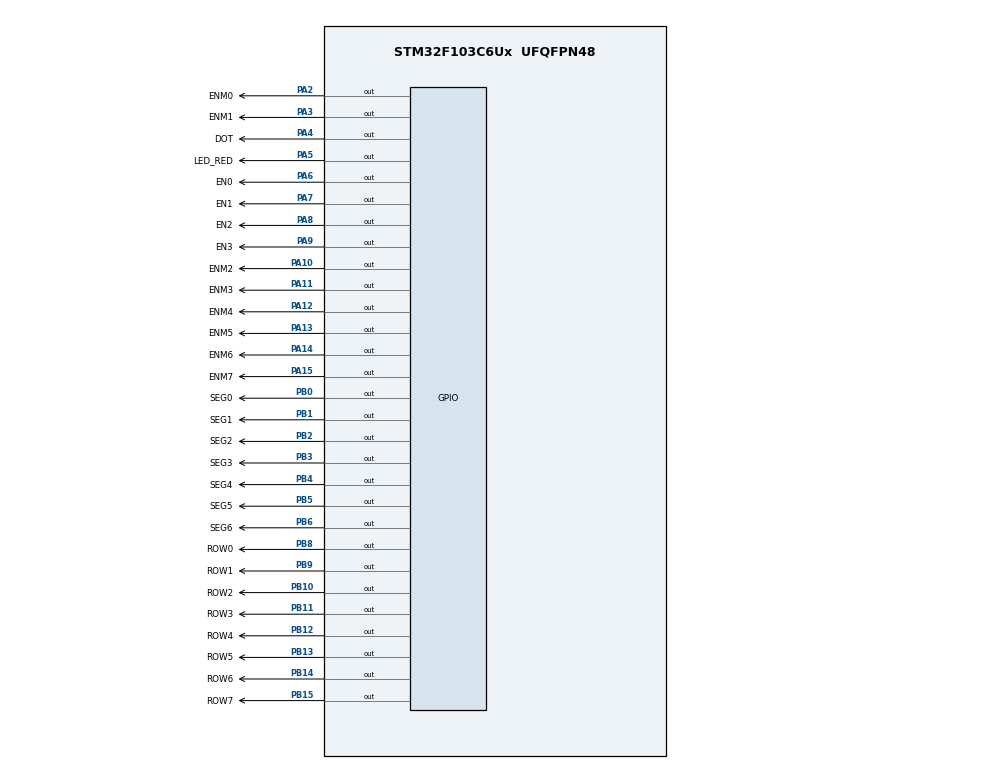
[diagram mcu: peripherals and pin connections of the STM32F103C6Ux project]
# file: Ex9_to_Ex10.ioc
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Mcu.Family=STM32F1
Mcu.Name=STM32F103C6Ux
Mcu.Package=UFQFPN48
NVIC.PriorityGroup=NVIC_PRIORITYGROUP_4
NVIC.TIM2_IRQn=true\:0\:0\:false\:false\:true\:true\:true
PA10.GPIO_Label=ENM2
PA10.Signal=GPIO_Output
PA11.GPIO_Label=ENM3
PA11.Signal=GPIO_Output
PA12.GPIO_Label=ENM4
PA12.Signal=GPIO_Output
PA13.GPIO_Label=ENM5
PA13.Signal=GPIO_Output
PA14.GPIO_Label=ENM6
PA14.Signal=GPIO_Output
PA15.GPIO_Label=ENM7
PA15.Signal=GPIO_Output
PA2.GPIO_Label=ENM0
PA2.Signal=GPIO_Output
PA3.GPIO_Label=ENM1
PA3.Signal=GPIO_Output
PA4.GPIO_Label=DOT
PA4.Signal=GPIO_Output
PA5.GPIO_Label=LED_RED
PA5.Signal=GPIO_Output
PA6.GPIO_Label=EN0
PA6.Signal=GPIO_Output
PA7.GPIO_Label=EN1
PA7.Signal=GPIO_Output
PA8.GPIO_Label=EN2
PA8.Signal=GPIO_Output
PA9.GPIO_Label=EN3
PA9.Signal=GPIO_Output
PB0.GPIO_Label=SEG0
PB0.Signal=GPIO_Output
PB1.GPIO_Label=SEG1
PB1.Signal=GPIO_Output
PB10.GPIO_Label=ROW2
PB10.Signal=GPIO_Output
PB11.GPIO_Label=ROW3
PB11.Signal=GPIO_Output
PB12.GPIO_Label=ROW4
PB12.Signal=GPIO_Output
PB13.GPIO_Label=ROW5
PB13.Signal=GPIO_Output
PB14.GPIO_Label=ROW6
PB14.Signal=GPIO_Output
PB15.GPIO_Label=ROW7
PB15.Signal=GPIO_Output
PB2.GPIO_Label=SEG2
PB2.Signal=GPIO_Output
PB3.GPIO_Label=SEG3
PB3.Signal=GPIO_Output
PB4.GPIO_Label=SEG4
PB4.Signal=GPIO_Output
PB5.GPIO_Label=SEG5
PB5.Signal=GPIO_Output
PB6.GPIO_Label=SEG6
PB6.Signal=GPIO_Output
PB8.GPIO_Label=ROW0
PB8.Signal=GPIO_Output
PB9.GPIO_Label=ROW1
PB9.Signal=GPIO_Output
ProjectManager.HeapSize=0x200
ProjectManager.StackSize=0x400
ProjectManager.TargetToolchain=STM32CubeIDE
RCC.APB1Freq_Value=8000000
RCC.APB2Freq_Value=8000000
TIM2.Period=9
TIM2.Prescaler=7999
VP_SYS_VS_ND.Mode=No_Debug
VP_TIM2_VS_ClockSourceINT.Mode=Internal
board=custom

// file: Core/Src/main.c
/* USER CODE BEGIN Header */
/**
  ******************************************************************************
  * @file           : main.c
  * @brief          : Main program body
  ******************************************************************************
  * @attention
  *
  * <h2><center>&copy; Copyright (c) 2025 STMicroelectronics.
  * All rights reserved.</center></h2>
  *
  * This software component is licensed by ST under BSD 3-Clause license,
  * the "License"; You may not use this file except in compliance with the
  * License. You may obtain a copy of the License at:
  *                        opensource.org/licenses/BSD-3-Clause
  *
  ******************************************************************************
  */
/* USER CODE END Header */
#include "main.h"

/* USER CODE BEGIN Includes */
#include "softWareTimer.h"
/* USER CODE END Includes */

TIM_HandleTypeDef htim2;

/* USER CODE BEGIN PV */
TIM_HandleTypeDef htim2;
const uint8_t seg_table[10] = {
    0b1000000, // 0
    0b1111001, // 1
    0b0100100, // 2
    0b0110000, // 3
    0b0011001, // 4
    0b0010010, // 5
    0b0000010, // 6
    0b1111000, // 7
    0b0000000, // 8
    0b0010000  // 9
};
//LED7SEG
int 		index_led 		= 0;
int 		led_buffer[MAX_LED]   = {1, 2, 3, 4};
int hour = 15, minute = 59, second = 50;

//LED MATRIX
int 		index_led_matrix	= 0;
uint8_t 	matrix_buffer[MAX_LED_MATRIX] 	= {
		// quet theo hang doc
			0x00, //    XX
			0x3F, //   X  X
			0x48, //  X    X
			0x88, //  X    X
			0x88, //  XXXXXX
			0x48, //  X    X
			0x3F, //  X    X
			0x00  //  X    X
};

uint8_t matrix_random[MAX_LED_MATRIX] = {
    0b00111100,
    0b01000010,
    0b10000001,
    0b10000001,
    0b11111111,
    0b10000001,
    0b10000001,
    0b10000001
};
/* USER CODE END PV */

void SystemClock_Config(void);
static void MX_GPIO_Init(void);
static void MX_TIM2_Init(void);

int main(void)
{

  /* MCU Configuration--------------------------------------------------------*/

  /* Reset of all peripherals, Initializes the Flash interface and the Systick. */
  HAL_Init();

  /* Configure the system clock */
  SystemClock_Config();

  /* Initialize all configured peripherals */
  MX_GPIO_Init();
  MX_TIM2_Init();
  /* USER CODE BEGIN 2 */
  HAL_TIM_Base_Start_IT(&htim2);
  /* USER CODE END 2 */

  /* Infinite loop */
  /* USER CODE BEGIN WHILE */
  setTimer(0, 3);
  setTimer(1, 5);
  setTimer(2, 7);
  setTimer(3, 13);
  setTimer(4, 17);
  setTimer(5, 19);
  while (1)
  {
	  if (isTimerExpire(2)) {
		  ++second;
		  if (second >= 60) {
			  second = 0;
			  minute++;
		  }
		  if (minute >= 60) {
			  minute = 0;
			  hour++;
		  }
		  if (hour >= 24) {
			  hour = 0;
		  }
		  updateClockBuffer(); //setup clock
		  setTimer(2, 100);
	  }
      // display number clock
      if (isTimerExpire(0)) {
    	  HAL_GPIO_TogglePin(LED_RED_GPIO_Port, LED_RED_Pin);
    	  update7SEG(index_led++);
    	  if (index_led >= MAX_LED) index_led = 0;
          setTimer(0, 25); // reset timer 0.5s
      }
      // display two led
      if (isTimerExpire(1)) {
    	  HAL_GPIO_TogglePin(DOT_GPIO_Port, DOT_Pin);
    	  setTimer(1, 100);
      }

      // display letter 'A' on led matrix 8x8

      if (isTimerExpire(3)) {
    	  updateLEDMatrix(index_led_matrix++);
		  if (index_led_matrix >= MAX_LED_MATRIX) index_led_matrix = 0;
		  setTimer(3, 1); // reset timer 10ms
      }
      if (isTimerExpire(4)) {
          shiftDown();
          setTimer(4, 30);  // dịch mỗi 200ms
      }
    /* USER CODE END WHILE */

  }
}

void SystemClock_Config(void)
{
  RCC_OscInitTypeDef RCC_OscInitStruct = {0};
  RCC_ClkInitTypeDef RCC_ClkInitStruct = {0};

  /** Initializes the RCC Oscillators according to the specified parameters
  * in the RCC_OscInitTypeDef structure.
  */
  RCC_OscInitStruct.OscillatorType = RCC_OSCILLATORTYPE_HSI;
  RCC_OscInitStruct.HSIState = RCC_HSI_ON;
  RCC_OscInitStruct.HSICalibrationValue = RCC_HSICALIBRATION_DEFAULT;
  RCC_OscInitStruct.PLL.PLLState = RCC_PLL_NONE;
  if (HAL_RCC_OscConfig(&RCC_OscInitStruct) != HAL_OK)
  {
    Error_Handler();
  }
  /** Initializes the CPU, AHB and APB buses clocks
  */
  RCC_ClkInitStruct.ClockType = RCC_CLOCKTYPE_HCLK|RCC_CLOCKTYPE_SYSCLK
                              |RCC_CLOCKTYPE_PCLK1|RCC_CLOCKTYPE_PCLK2;
  RCC_ClkInitStruct.SYSCLKSource = RCC_SYSCLKSOURCE_HSI;
  RCC_ClkInitStruct.AHBCLKDivider = RCC_SYSCLK_DIV1;
  RCC_ClkInitStruct.APB1CLKDivider = RCC_HCLK_DIV1;
  RCC_ClkInitStruct.APB2CLKDivider = RCC_HCLK_DIV1;

  if (HAL_RCC_ClockConfig(&RCC_ClkInitStruct, FLASH_LATENCY_0) != HAL_OK)
  {
    Error_Handler();
  }
}

static void MX_TIM2_Init(void)
{

  TIM_ClockConfigTypeDef sClockSourceConfig = {0};
  TIM_MasterConfigTypeDef sMasterConfig = {0};

  htim2.Instance = TIM2;
  htim2.Init.Prescaler = 7999;
  htim2.Init.CounterMode = TIM_COUNTERMODE_UP;
  htim2.Init.Period = 9;
  htim2.Init.ClockDivision = TIM_CLOCKDIVISION_DIV1;
  htim2.Init.AutoReloadPreload = TIM_AUTORELOAD_PRELOAD_DISABLE;
  if (HAL_TIM_Base_Init(&htim2) != HAL_OK)
  {
    Error_Handler();
  }
  sClockSourceConfig.ClockSource = TIM_CLOCKSOURCE_INTERNAL;
  if (HAL_TIM_ConfigClockSource(&htim2, &sClockSourceConfig) != HAL_OK)
  {
    Error_Handler();
  }
  sMasterConfig.MasterOutputTrigger = TIM_TRGO_RESET;
  sMasterConfig.MasterSlaveMode = TIM_MASTERSLAVEMODE_DISABLE;
  if (HAL_TIMEx_MasterConfigSynchronization(&htim2, &sMasterConfig) != HAL_OK)
  {
    Error_Handler();
  }

}

static void MX_GPIO_Init(void)
{
  GPIO_InitTypeDef GPIO_InitStruct = {0};

  /* GPIO Ports Clock Enable */
  __HAL_RCC_GPIOA_CLK_ENABLE();
  __HAL_RCC_GPIOB_CLK_ENABLE();

  /*Configure GPIO pin Output Level */
  HAL_GPIO_WritePin(GPIOA, ENM0_Pin|ENM1_Pin|DOT_Pin|LED_RED_Pin
                          |EN0_Pin|EN1_Pin|EN2_Pin|EN3_Pin
                          |ENM2_Pin|ENM3_Pin|ENM4_Pin|ENM5_Pin
                          |ENM6_Pin|ENM7_Pin, GPIO_PIN_RESET);

  /*Configure GPIO pin Output Level */
  HAL_GPIO_WritePin(GPIOB, SEG0_Pin|SEG1_Pin|SEG2_Pin|ROW2_Pin
                          |ROW3_Pin|ROW4_Pin|ROW5_Pin|ROW6_Pin
                          |ROW7_Pin|SEG3_Pin|SEG4_Pin|SEG5_Pin
                          |SEG6_Pin|ROW0_Pin|ROW1_Pin, GPIO_PIN_RESET);

  /*Configure GPIO pins : ENM0_Pin ENM1_Pin DOT_Pin LED_RED_Pin
                           EN0_Pin EN1_Pin EN2_Pin EN3_Pin
                           ENM2_Pin ENM3_Pin ENM4_Pin ENM5_Pin
                           ENM6_Pin ENM7_Pin */
  GPIO_InitStruct.Pin = ENM0_Pin|ENM1_Pin|DOT_Pin|LED_RED_Pin
                          |EN0_Pin|EN1_Pin|EN2_Pin|EN3_Pin
                          |ENM2_Pin|ENM3_Pin|ENM4_Pin|ENM5_Pin
                          |ENM6_Pin|ENM7_Pin;
  GPIO_InitStruct.Mode = GPIO_MODE_OUTPUT_PP;
  GPIO_InitStruct.Pull = GPIO_NOPULL;
  GPIO_InitStruct.Speed = GPIO_SPEED_FREQ_LOW;
  HAL_GPIO_Init(GPIOA, &GPIO_InitStruct);

  /*Configure GPIO pins : SEG0_Pin SEG1_Pin SEG2_Pin ROW2_Pin
                           ROW3_Pin ROW4_Pin ROW5_Pin ROW6_Pin
                           ROW7_Pin SEG3_Pin SEG4_Pin SEG5_Pin
                           SEG6_Pin ROW0_Pin ROW1_Pin */
  GPIO_InitStruct.Pin = SEG0_Pin|SEG1_Pin|SEG2_Pin|ROW2_Pin
                          |ROW3_Pin|ROW4_Pin|ROW5_Pin|ROW6_Pin
                          |ROW7_Pin|SEG3_Pin|SEG4_Pin|SEG5_Pin
                          |SEG6_Pin|ROW0_Pin|ROW1_Pin;
  GPIO_InitStruct.Mode = GPIO_MODE_OUTPUT_PP;
  GPIO_InitStruct.Pull = GPIO_NOPULL;
  GPIO_InitStruct.Speed = GPIO_SPEED_FREQ_LOW;
  HAL_GPIO_Init(GPIOB, &GPIO_InitStruct);

}

/* USER CODE BEGIN 4 */
void HAL_TIM_PeriodElapsedCallback(TIM_HandleTypeDef* htim)
{
	timerRun();
}
void display7SEG(int num) {
    if (num < 0 || num > 9) return;
    uint8_t pattern = seg_table[num];
    HAL_GPIO_WritePin(SEG0_GPIO_Port, SEG0_Pin, pattern & 0x01);
    HAL_GPIO_WritePin(SEG1_GPIO_Port, SEG1_Pin, (pattern >> 1) & 0x01);
    HAL_GPIO_WritePin(SEG2_GPIO_Port, SEG2_Pin, (pattern >> 2) & 0x01);
    HAL_GPIO_WritePin(SEG3_GPIO_Port, SEG3_Pin, (pattern >> 3) & 0x01);
    HAL_GPIO_WritePin(SEG4_GPIO_Port, SEG4_Pin, (pattern >> 4) & 0x01);
    HAL_GPIO_WritePin(SEG5_GPIO_Port, SEG5_Pin, (pattern >> 5) & 0x01);
    HAL_GPIO_WritePin(SEG6_GPIO_Port, SEG6_Pin, (pattern >> 6) & 0x01);
}
void update7SEG(int index) {
	switch (index) {
		case 0:
			display7SEG(led_buffer[0]);
			HAL_GPIO_WritePin(EN0_GPIO_Port, EN0_Pin, GPIO_PIN_RESET); // turn on LED1
			HAL_GPIO_WritePin(EN1_GPIO_Port, EN1_Pin, GPIO_PIN_SET);   // turn off LED2
			HAL_GPIO_WritePin(EN2_GPIO_Port, EN2_Pin, GPIO_PIN_SET);   // turn off LED2
			HAL_GPIO_WritePin(EN3_GPIO_Port, EN3_Pin, GPIO_PIN_SET);   // turn off LED3
			break;
		case 1:
			display7SEG(led_buffer[1]);
			HAL_GPIO_WritePin(EN0_GPIO_Port, EN0_Pin, GPIO_PIN_SET);   // turn off LED1
			HAL_GPIO_WritePin(EN1_GPIO_Port, EN1_Pin, GPIO_PIN_RESET); // turn on LED2
			HAL_GPIO_WritePin(EN2_GPIO_Port, EN2_Pin, GPIO_PIN_SET);   // turn off LED3
			HAL_GPIO_WritePin(EN3_GPIO_Port, EN3_Pin, GPIO_PIN_SET);   // turn off LED4
			break;
		case 2:
			display7SEG(led_buffer[2]);
			HAL_GPIO_WritePin(EN0_GPIO_Port, EN0_Pin, GPIO_PIN_SET);   // turn off LED1
			HAL_GPIO_WritePin(EN1_GPIO_Port, EN1_Pin, GPIO_PIN_SET);   // turn off LED2
			HAL_GPIO_WritePin(EN2_GPIO_Port, EN2_Pin, GPIO_PIN_RESET); // turn on LED3
			HAL_GPIO_WritePin(EN3_GPIO_Port, EN3_Pin, GPIO_PIN_SET);   // turn off LED4
			break;
		case 3:
			display7SEG(led_buffer[3]);
			HAL_GPIO_WritePin(EN0_GPIO_Port, EN0_Pin, GPIO_PIN_SET);   // turn off LED1
			HAL_GPIO_WritePin(EN1_GPIO_Port, EN1_Pin, GPIO_PIN_SET);   // turn off LED2
			HAL_GPIO_WritePin(EN2_GPIO_Port, EN2_Pin, GPIO_PIN_SET);   // turn off LED3
			HAL_GPIO_WritePin(EN3_GPIO_Port, EN3_Pin, GPIO_PIN_RESET); // turn on LED4
			break;
		default:
			break;
	}
}
void updateClockBuffer() {
	led_buffer[0] = hour / 10;
	led_buffer[1] = hour % 10;
	led_buffer[2] = minute / 10;
	led_buffer[3] = minute % 10;
}

void updateLEDMatrix(int index) {
	//turn off all led
    HAL_GPIO_WritePin(ENM0_GPIO_Port, ENM0_Pin, GPIO_PIN_SET);
    HAL_GPIO_WritePin(ENM1_GPIO_Port, ENM1_Pin, GPIO_PIN_SET);
    HAL_GPIO_WritePin(ENM2_GPIO_Port, ENM2_Pin, GPIO_PIN_SET);
    HAL_GPIO_WritePin(ENM3_GPIO_Port, ENM3_Pin, GPIO_PIN_SET);
    HAL_GPIO_WritePin(ENM4_GPIO_Port, ENM4_Pin, GPIO_PIN_SET);
    HAL_GPIO_WritePin(ENM5_GPIO_Port, ENM5_Pin, GPIO_PIN_SET);
    HAL_GPIO_WritePin(ENM6_GPIO_Port, ENM6_Pin, GPIO_PIN_SET);
    HAL_GPIO_WritePin(ENM7_GPIO_Port, ENM7_Pin, GPIO_PIN_SET);

    //matrix_buffer[index] 8 bits
    uint8_t row_data = matrix_buffer[index];
    HAL_GPIO_WritePin(ROW0_GPIO_Port, ROW0_Pin, (row_data & 0x80) ? GPIO_PIN_RESET : GPIO_PIN_SET);
    HAL_GPIO_WritePin(ROW1_GPIO_Port, ROW1_Pin, (row_data & 0x40) ? GPIO_PIN_RESET : GPIO_PIN_SET);
    HAL_GPIO_WritePin(ROW2_GPIO_Port, ROW2_Pin, (row_data & 0x20) ? GPIO_PIN_RESET : GPIO_PIN_SET);
    HAL_GPIO_WritePin(ROW3_GPIO_Port, ROW3_Pin, (row_data & 0x10) ? GPIO_PIN_RESET : GPIO_PIN_SET);
    HAL_GPIO_WritePin(ROW4_GPIO_Port, ROW4_Pin, (row_data & 0x08) ? GPIO_PIN_RESET : GPIO_PIN_SET);
    HAL_GPIO_WritePin(ROW5_GPIO_Port, ROW5_Pin, (row_data & 0x04) ? GPIO_PIN_RESET : GPIO_PIN_SET);
    HAL_GPIO_WritePin(ROW6_GPIO_Port, ROW6_Pin, (row_data & 0x02) ? GPIO_PIN_RESET : GPIO_PIN_SET);
    HAL_GPIO_WritePin(ROW7_GPIO_Port, ROW7_Pin, (row_data & 0x01) ? GPIO_PIN_RESET : GPIO_PIN_SET);

    switch (index) {
        case 0: HAL_GPIO_WritePin(ENM0_GPIO_Port, ENM0_Pin, GPIO_PIN_RESET); break;
        case 1: HAL_GPIO_WritePin(ENM1_GPIO_Port, ENM1_Pin, GPIO_PIN_RESET); break;
        case 2: HAL_GPIO_WritePin(ENM2_GPIO_Port, ENM2_Pin, GPIO_PIN_RESET); break;
        case 3: HAL_GPIO_WritePin(ENM3_GPIO_Port, ENM3_Pin, GPIO_PIN_RESET); break;
        case 4: HAL_GPIO_WritePin(ENM4_GPIO_Port, ENM4_Pin, GPIO_PIN_RESET); break;
        case 5: HAL_GPIO_WritePin(ENM5_GPIO_Port, ENM5_Pin, GPIO_PIN_RESET); break;
        case 6: HAL_GPIO_WritePin(ENM6_GPIO_Port, ENM6_Pin, GPIO_PIN_RESET); break;
        case 7: HAL_GPIO_WritePin(ENM7_GPIO_Port, ENM7_Pin, GPIO_PIN_RESET); break;
        default: break;
    }
}
void shiftDown() {
    for (int i = 0; i < 8; i++) {
        uint8_t last_bit = (matrix_buffer[i] & 0x01);  // lấy bit ngoài cùng bên dưới
        matrix_buffer[i] >>= 1;                        // go down
        matrix_buffer[i] |= (last_bit << 7);           // vòng lên lại
    }
}

/* USER CODE END 4 */

void Error_Handler(void)
{
  __disable_irq();
  while (1)
  {
  }
}

/************************ (C) COPYRIGHT STMicroelectronics *****END OF FILE****/
